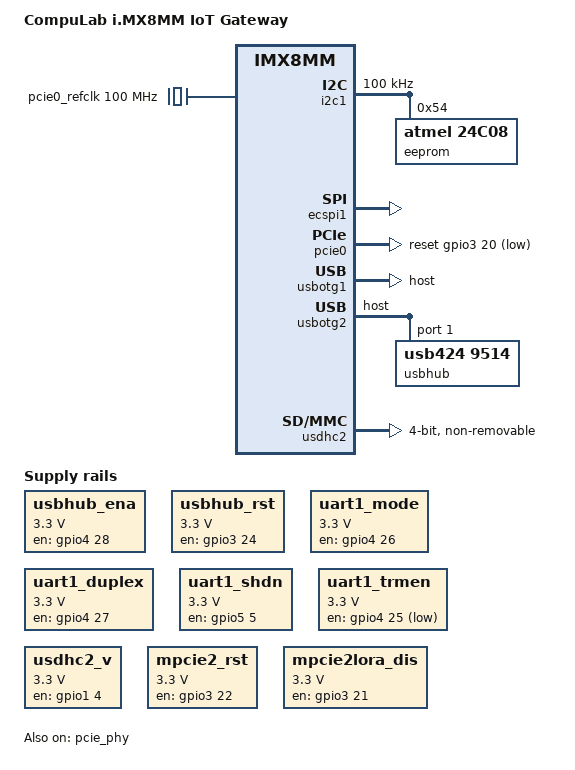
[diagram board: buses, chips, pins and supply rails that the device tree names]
// SPDX-License-Identifier: (GPL-2.0+ OR MIT)
//
// Copyright 2020 CompuLab

#include "imx8mm-ucm-som.dtsi"
#include <dt-bindings/phy/phy-imx8-pcie.h>
/ {
	model = "CompuLab i.MX8MM IoT Gateway";
	compatible = "compulab,imx8mm-iot-gateway", "compulab,imx8mm-ucm-som", "fsl,imx8mm";

	regulator-usbhub-ena {
		compatible = "regulator-fixed";
		regulator-name = "usbhub_ena";
		regulator-min-microvolt = <3300000>;
		regulator-max-microvolt = <3300000>;
		gpio = <&gpio4 28 GPIO_ACTIVE_HIGH>;
		enable-active-high;
		regulator-always-on;
	};

	regulator-usbhub-rst {
		compatible = "regulator-fixed";
		regulator-name = "usbhub_rst";
		regulator-min-microvolt = <3300000>;
		regulator-max-microvolt = <3300000>;
		gpio = <&gpio3 24 GPIO_ACTIVE_HIGH>;
		enable-active-high;
		regulator-always-on;
	};

	regulator-uart1-mode {
		compatible = "regulator-fixed";
		regulator-name = "uart1_mode";
		regulator-min-microvolt = <3300000>;
		regulator-max-microvolt = <3300000>;
		gpio = <&gpio4 26 GPIO_ACTIVE_HIGH>;
		enable-active-high;
		regulator-always-on;
	};

	regulator-uart1-duplex {
		compatible = "regulator-fixed";
		regulator-name = "uart1_duplex";
		regulator-min-microvolt = <3300000>;
		regulator-max-microvolt = <3300000>;
		gpio = <&gpio4 27 GPIO_ACTIVE_HIGH>;
		enable-active-high;
		regulator-always-on;
	};

	regulator-uart1-shdn {
		compatible = "regulator-fixed";
		regulator-name = "uart1_shdn";
		regulator-min-microvolt = <3300000>;
		regulator-max-microvolt = <3300000>;
		gpio = <&gpio5 5 GPIO_ACTIVE_HIGH>;
		enable-active-high;
		regulator-always-on;
	};

	regulator-uart1-trmen {
		compatible = "regulator-fixed";
		regulator-name = "uart1_trmen";
		regulator-min-microvolt = <3300000>;
		regulator-max-microvolt = <3300000>;
		gpio = <&gpio4 25 GPIO_ACTIVE_LOW>;
		regulator-always-on;
	};

	regulator-usdhc2-v {
		compatible = "regulator-fixed";
		regulator-name = "usdhc2_v";
		regulator-min-microvolt = <3300000>;
		regulator-max-microvolt = <3300000>;
		gpio = <&gpio1 4 GPIO_ACTIVE_HIGH>;
		enable-active-high;
		regulator-always-on;
	};

	regulator-mpcie2-rst {
		compatible = "regulator-fixed";
		regulator-name = "mpcie2_rst";
		regulator-min-microvolt = <3300000>;
		regulator-max-microvolt = <3300000>;
		gpio = <&gpio3 22 GPIO_ACTIVE_HIGH>;
		enable-active-high;
		regulator-always-on;
	};

	regulator-mpcie2lora-dis {
		compatible = "regulator-fixed";
		regulator-name = "mpcie2lora_dis";
		regulator-min-microvolt = <3300000>;
		regulator-max-microvolt = <3300000>;
		gpio = <&gpio3 21 GPIO_ACTIVE_HIGH>;
		enable-active-high;
		regulator-always-on;
	};

	pcie0_refclk: clock-pcie0-refclk {
		compatible = "fixed-clock";
		#clock-cells = <0>;
		clock-frequency = <100000000>;
	};
};

&i2c1 {
	clock-frequency = <100000>;
	pinctrl-names = "default";
	pinctrl-0 = <&pinctrl_i2c1>;
	status = "okay";

	eeprom@54 {
		compatible = "atmel,24c08";
		reg = <0x54>;
		pagesize = <16>;
	};
};

&ecspi1 {
	pinctrl-names = "default";
	pinctrl-0 = <&pinctrl_ecspi1 &pinctrl_ecspi1_cs>;
	cs-gpios = <&gpio5 9 GPIO_ACTIVE_LOW>;
	status = "okay";
};

&pcie_phy {
	fsl,refclk-pad-mode = <IMX8_PCIE_REFCLK_PAD_INPUT>;
	fsl,tx-deemph-gen1 = <0x2d>;
	fsl,tx-deemph-gen2 = <0xf>;
	fsl,clkreq-unsupported;
	clocks = <&pcie0_refclk>;
	clock-names = "ref";
	status = "okay";
};

&pcie0 {
	pinctrl-names = "default";
	pinctrl-0 = <&pinctrl_pcie0>;
	reset-gpio = <&gpio3 20 GPIO_ACTIVE_LOW>;
	status = "okay";
};

&usbotg1 {
	dr_mode = "host";
	status = "okay";
};

&usbotg2 {
	#address-cells = <1>;
	#size-cells = <0>;
	dr_mode = "host";
	usb-role-switch;
	status = "okay";

	usbhub@1 {
		compatible = "usb424,9514";
		reg = <1>;
		pinctrl-names = "default";
		pinctrl-0 = <&pinctrl_usb9514>;
		#address-cells = <1>;
		#size-cells = <0>;

		ethernet: ethernet@1 {
			compatible = "usb424,ec00";
			reg = <1>;
		};
	};
};

&usdhc2 {
	pinctrl-names = "default";
	pinctrl-0 = <&pinctrl_usdhc2>;
	bus-width = <4>;
	mmc-ddr-1_8v;
	non-removable;
	status = "okay";
};

&iomuxc {
	pinctrl-names = "default";
	pinctrl-0 = <&pinctrl_hog>;

	pinctrl_hog: hoggrp {
		fsl,pins = <
			/* mPCIe2 */
			MX8MM_IOMUXC_SAI5_RXD0_GPIO3_IO21		0x140
			MX8MM_IOMUXC_SAI5_RXD1_GPIO3_IO22		0x140
		>;
	};

	pinctrl_ecspi1: ecspi1grp {
		fsl,pins = <
			MX8MM_IOMUXC_ECSPI1_SCLK_ECSPI1_SCLK		0x82
			MX8MM_IOMUXC_ECSPI1_MOSI_ECSPI1_MOSI		0x82
			MX8MM_IOMUXC_ECSPI1_MISO_ECSPI1_MISO		0x82
		>;
	};

	pinctrl_ecspi1_cs: ecspi1csgrp {
		fsl,pins = <
			MX8MM_IOMUXC_ECSPI1_SS0_GPIO5_IO9		0x40000
		>;
	};

	pinctrl_pcie0: pcie0grp {
		fsl,pins = <
			MX8MM_IOMUXC_SAI5_RXC_GPIO3_IO20		0x140
		>;
	};

	pinctrl_usb9514: usb9514grp {
		fsl,pins = <
			MX8MM_IOMUXC_SAI3_RXFS_GPIO4_IO28		0x140 /* USB_PS_EN */
			MX8MM_IOMUXC_SAI5_RXD3_GPIO3_IO24		0x140 /* HUB_RSTn */
		>;
	};
};
